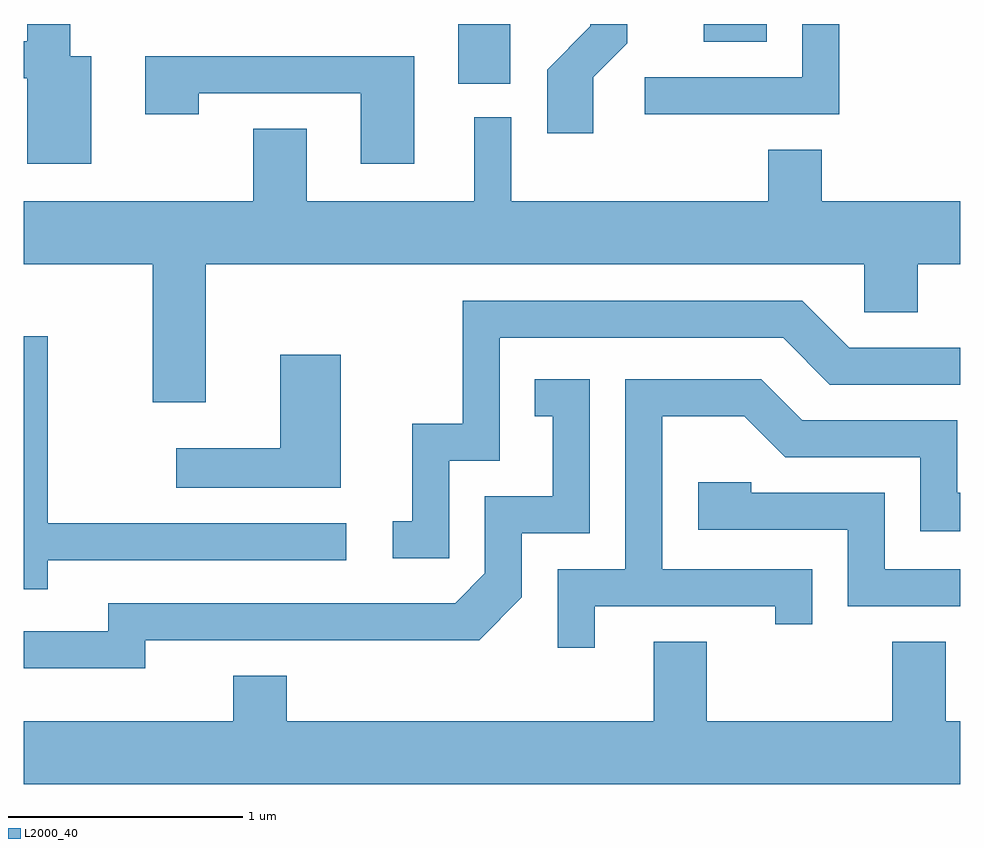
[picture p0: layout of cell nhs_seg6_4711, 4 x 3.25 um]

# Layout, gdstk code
import gdstk
lib = gdstk.Library(unit=1e-6, precision=1e-09)
def R(c, l, rs):  # rectangles x0, y0, x1, y1
    for r in rs: c.add(gdstk.rectangle(r[:2], r[2:], *l))
def P(c, l, *ps):  # polygons
    for p in ps: c.add(gdstk.Polygon(p, *l))
L2000_40 = (2000, 40)

nhs_seg6_4711 = lib.new_cell('nhs_seg6_4711')
R(nhs_seg6_4711, L2000_40, [(331.466,1561.906,331.689,1562.162), (332.516,1562.086,332.784,1562.162)])
P(nhs_seg6_4711, L2000_40, [(329.899,1562.024),(329.809,1562.024),(329.809,1562.162),(329.626,1562.162),(329.626,1562.089),(329.611,1562.089),(329.611,1561.931),(329.626,1561.931),(329.626,1561.566),(329.899,1561.566)],
  [(333.094,1562.162),(332.936,1562.162),(332.936,1561.934),(332.263,1561.934),(332.263,1561.776),(333.094,1561.776)],
  [(332.044,1561.934),(332.189,1562.079),(332.189,1562.162),(332.031,1562.162),(332.031,1562.152),(331.846,1561.967),(331.846,1561.696),(332.044,1561.696)],
  [(331.279,1562.024),(330.131,1562.024),(330.131,1561.776),(330.359,1561.776),(330.359,1561.866),(331.051,1561.866),(331.051,1561.566),(331.279,1561.566)],
  [(330.389,1561.136),(333.201,1561.136),(333.201,1560.931),(333.429,1560.931),(333.429,1561.136),(333.611,1561.136),(333.611,1561.404),(333.019,1561.404),(333.019,1561.624),(332.791,1561.624),(332.791,1561.404),(331.694,1561.404),(331.694,1561.763),(331.536,1561.763),(331.536,1561.404),(330.819,1561.404),(330.819,1561.714),(330.591,1561.714),(330.591,1561.404),(329.611,1561.404),(329.611,1561.136),(330.161,1561.136),(330.161,1560.546),(330.389,1560.546)],
  [(331.429,1560.296),(331.644,1560.296),(331.644,1560.821),(332.854,1560.821),(333.054,1560.621),(333.611,1560.621),(333.611,1560.779),(333.137,1560.779),(332.937,1560.979),(331.486,1560.979),(331.486,1560.454),(331.271,1560.454),(331.271,1560.039),(331.188,1560.039),(331.188,1559.881),(331.429,1559.881)],
  [(329.714,1559.871),(330.988,1559.871),(330.988,1560.029),(329.714,1560.029),(329.714,1560.828),(329.611,1560.828),(329.611,1559.748),(329.714,1559.748)],
  [(330.964,1560.749),(330.706,1560.749),(330.706,1560.349),(330.263,1560.349),(330.263,1560.181),(330.964,1560.181)],
  [(332.049,1559.676),(332.821,1559.676),(332.821,1559.598),(332.979,1559.598),(332.979,1559.834),(332.339,1559.834),(332.339,1560.486),(332.689,1560.486),(332.864,1560.311),(333.441,1560.311),(333.441,1559.996),(333.611,1559.996),(333.611,1560.159),(333.599,1560.159),(333.599,1560.469),(332.937,1560.469),(332.762,1560.644),(332.181,1560.644),(332.181,1559.834),(331.891,1559.834),(331.891,1559.498),(332.049,1559.498)],
  [(330.129,1559.531),(331.557,1559.531),(331.739,1559.714),(331.739,1559.986),(332.029,1559.986),(332.029,1560.644),(331.793,1560.644),(331.793,1560.486),(331.871,1560.486),(331.871,1560.144),(331.581,1560.144),(331.581,1559.817),(331.454,1559.689),(329.971,1559.689),(329.971,1559.569),(329.611,1559.569),(329.611,1559.411),(330.129,1559.411)],
  [(333.611,1559.834),(333.289,1559.834),(333.289,1560.159),(332.719,1560.159),(332.719,1560.204),(332.491,1560.204),(332.491,1560.001),(333.131,1560.001),(333.131,1559.676),(333.611,1559.676)],
  [(333.611,1559.184),(333.549,1559.184),(333.549,1559.524),(333.321,1559.524),(333.321,1559.184),(332.529,1559.184),(332.529,1559.524),(332.301,1559.524),(332.301,1559.184),(330.734,1559.184),(330.734,1559.379),(330.506,1559.379),(330.506,1559.184),(329.611,1559.184),(329.611,1558.916),(333.611,1558.916)])

lib.write_gds('nhs_seg6_4711.gds')
